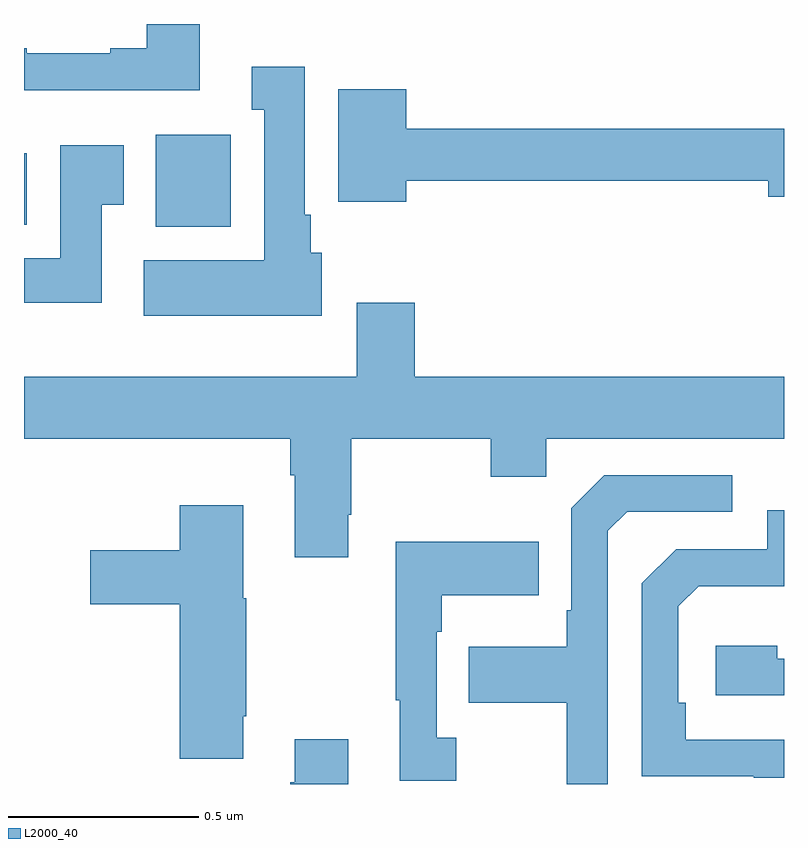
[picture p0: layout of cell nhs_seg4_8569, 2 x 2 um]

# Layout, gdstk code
import gdstk
lib = gdstk.Library(unit=1e-6, precision=1e-09)
def R(c, l, rs):  # rectangles x0, y0, x1, y1
    for r in rs: c.add(gdstk.rectangle(r[:2], r[2:], *l))
def P(c, l, *ps):  # polygons
    for p in ps: c.add(gdstk.Polygon(p, *l))
L2000_40 = (2000, 40)

nhs_seg4_8569 = lib.new_cell('nhs_seg4_8569')
R(nhs_seg4_8569, L2000_40, [(216.347,809.366,216.544,809.608), (216,809.372,216.007,809.56)])
P(nhs_seg4_8569, L2000_40, [(216.463,809.9),(216.323,809.9),(216.323,809.836),(216.227,809.836),(216.227,809.823),(216.007,809.823),(216.007,809.836),(216,809.836),(216,809.726),(216.463,809.726)],
  [(216.784,809.298),(216.754,809.298),(216.754,809.398),(216.739,809.398),(216.739,809.788),(216.599,809.788),(216.599,809.675),(216.632,809.675),(216.632,809.278),(216.315,809.278),(216.315,809.132),(216.784,809.132)],
  [(217.006,809.488),(217.958,809.488),(217.958,809.446),(218,809.446),(218,809.624),(217.006,809.624),(217.006,809.728),(216.827,809.728),(216.827,809.432),(217.006,809.432)],
  [(216.205,809.425),(216.262,809.425),(216.262,809.581),(216.095,809.581),(216.095,809.284),(216,809.284),(216,809.166),(216.205,809.166)],
  [(216.853,808.609),(216.861,808.609),(216.861,808.808),(217.228,808.808),(217.228,808.709),(217.374,808.709),(217.374,808.808),(218,808.808),(218,808.972),(217.028,808.972),(217.028,809.167),(216.875,809.167),(216.875,808.972),(216,808.972),(216,808.808),(216.701,808.808),(216.701,808.712),(216.713,808.712),(216.713,808.497),(216.853,808.497)],
  [(217.536,808.566),(217.587,808.617),(217.864,808.617),(217.864,808.713),(217.527,808.713),(217.44,808.626),(217.44,808.357),(217.428,808.357),(217.428,808.261),(217.171,808.261),(217.171,808.114),(217.428,808.114),(217.428,807.9),(217.536,807.9)],
  [(216.577,808.078),(216.585,808.078),(216.585,808.389),(216.577,808.389),(216.577,808.633),(216.41,808.633),(216.41,808.515),(216.174,808.515),(216.174,808.373),(216.41,808.373),(216.41,807.966),(216.577,807.966)],
  [(218,808.017),(217.742,808.017),(217.742,808.114),(217.722,808.114),(217.722,808.368),(217.775,808.421),(218,808.421),(218,808.62),(217.956,808.62),(217.956,808.518),(217.716,808.518),(217.626,808.428),(217.626,807.921),(217.921,807.921),(217.921,807.916),(218,807.916)],
  [(217.138,808.022),(217.086,808.022),(217.086,808.301),(217.099,808.301),(217.099,808.397),(217.355,808.397),(217.355,808.537),(216.978,808.537),(216.978,808.121),(216.989,808.121),(216.989,807.909),(217.138,807.909)],
  [(218,808.23),(217.982,808.23),(217.982,808.264),(217.821,808.264),(217.821,808.134),(218,808.134)],
  [(216.853,808.018),(216.713,808.018),(216.713,807.905),(216.701,807.905),(216.701,807.9),(216.853,807.9)])

lib.write_gds('nhs_seg4_8569.gds')
